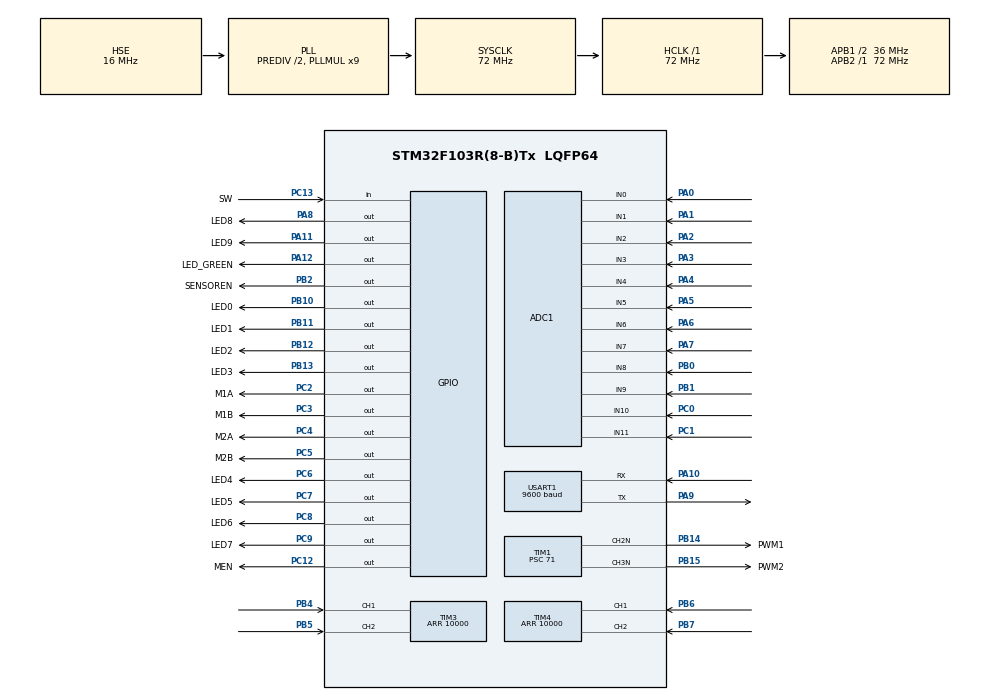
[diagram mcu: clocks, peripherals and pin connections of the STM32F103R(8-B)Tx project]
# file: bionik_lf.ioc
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ADC1.Channel-0\#ChannelRegularConversion=ADC_CHANNEL_0
ADC1.NbrOfConversionFlag=1
ADC1.Rank-0\#ChannelRegularConversion=1
ADC1.SamplingTime-0\#ChannelRegularConversion=ADC_SAMPLETIME_1CYCLE_5
ADC1.master=1
Dma.Request0=TIM1_CH2
Dma.Request1=TIM1_CH3
Dma.TIM1_CH2.0.Direction=DMA_MEMORY_TO_PERIPH
Dma.TIM1_CH2.0.Instance=DMA1_Channel3
Dma.TIM1_CH2.0.MemDataAlignment=DMA_MDATAALIGN_HALFWORD
Dma.TIM1_CH2.0.MemInc=DMA_MINC_ENABLE
Dma.TIM1_CH2.0.Mode=DMA_CIRCULAR
Dma.TIM1_CH2.0.PeriphDataAlignment=DMA_PDATAALIGN_HALFWORD
Dma.TIM1_CH2.0.PeriphInc=DMA_PINC_DISABLE
Dma.TIM1_CH2.0.Priority=DMA_PRIORITY_LOW
Dma.TIM1_CH3.1.Direction=DMA_MEMORY_TO_PERIPH
Dma.TIM1_CH3.1.Instance=DMA1_Channel6
Dma.TIM1_CH3.1.MemDataAlignment=DMA_MDATAALIGN_HALFWORD
Dma.TIM1_CH3.1.MemInc=DMA_MINC_ENABLE
Dma.TIM1_CH3.1.Mode=DMA_CIRCULAR
Dma.TIM1_CH3.1.PeriphDataAlignment=DMA_PDATAALIGN_HALFWORD
Dma.TIM1_CH3.1.PeriphInc=DMA_PINC_DISABLE
Dma.TIM1_CH3.1.Priority=DMA_PRIORITY_LOW
Mcu.Family=STM32F1
Mcu.Name=STM32F103R(8-B)Tx
Mcu.Package=LQFP64
NVIC.ADC1_2_IRQn=true\:0\:0\:false\:false\:true\:true
NVIC.DMA1_Channel3_IRQn=true\:0\:0\:false\:false\:true\:false
NVIC.DMA1_Channel6_IRQn=true\:0\:0\:false\:false\:true\:false
NVIC.PriorityGroup=NVIC_PRIORITYGROUP_4
NVIC.TIM1_UP_IRQn=true\:0\:0\:false\:false\:true\:true
NVIC.USART1_IRQn=true\:0\:0\:false\:false\:true\:true
PA0-WKUP.Signal=ADCx_IN0
PA1.Signal=ADCx_IN1
PA10.Mode=Asynchronous
PA10.Signal=USART1_RX
PA11.GPIO_Label=LED9
PA11.Signal=GPIO_Output
PA12.GPIO_Label=LED_GREEN
PA12.Signal=GPIO_Output
PA13.Mode=Serial_Wire
PA13.Signal=SYS_JTMS-SWDIO
PA14.Mode=Serial_Wire
PA14.Signal=SYS_JTCK-SWCLK
PA2.Signal=ADCx_IN2
PA3.Signal=ADCx_IN3
PA4.Signal=ADCx_IN4
PA5.Signal=ADCx_IN5
PA6.Signal=ADCx_IN6
PA7.Signal=ADCx_IN7
PA8.GPIO_Label=LED8
PA8.Signal=GPIO_Output
PA9.Mode=Asynchronous
PA9.Signal=USART1_TX
PB0.Signal=ADCx_IN8
PB1.Signal=ADCx_IN9
PB10.GPIO_Label=LED0
PB10.Signal=GPIO_Output
PB11.GPIO_Label=LED1
PB11.Signal=GPIO_Output
PB12.GPIO_Label=LED2
PB12.Signal=GPIO_Output
PB13.GPIO_Label=LED3
PB13.Signal=GPIO_Output
PB14.GPIO_Label=PWM1
PB14.GPIO_ModeDefaultPP=GPIO_MODE_AF_OD
PB14.GPIO_Speed=GPIO_SPEED_FREQ_HIGH
PB14.Mode=PWM Generation2 CH2N
PB14.Signal=TIM1_CH2N
PB15.GPIO_Label=PWM2
PB15.Mode=PWM Generation3 CH3N
PB15.Signal=TIM1_CH3N
PB2.GPIO_Label=SENSOREN
PB2.Signal=GPIO_Output
PB4.GPIO_PuPd=GPIO_NOPULL
PB4.Signal=S_TIM3_CH1
PB5.GPIO_PuPd=GPIO_NOPULL
PB5.Signal=S_TIM3_CH2
PB6.GPIO_PuPd=GPIO_NOPULL
PB6.Signal=S_TIM4_CH1
PB7.GPIO_PuPd=GPIO_NOPULL
PB7.Signal=S_TIM4_CH2
PC0.Signal=ADCx_IN10
PC1.Signal=ADCx_IN11
PC12.GPIO_Label=MEN
PC12.Signal=GPIO_Output
PC13-TAMPER-RTC.GPIO_Label=SW
PC13-TAMPER-RTC.Signal=GPIO_Input
PC2.GPIO_Label=M1A
PC2.Signal=GPIO_Output
PC3.GPIO_Label=M1B
PC3.Signal=GPIO_Output
PC4.GPIO_Label=M2A
PC4.Signal=GPIO_Output
PC5.GPIO_Label=M2B
PC5.Signal=GPIO_Output
PC6.GPIO_Label=LED4
PC6.Signal=GPIO_Output
PC7.GPIO_Label=LED5
PC7.Signal=GPIO_Output
PC8.GPIO_Label=LED6
PC8.Signal=GPIO_Output
PC9.GPIO_Label=LED7
PC9.Signal=GPIO_Output
PD0-OSC_IN.Mode=HSE-External-Oscillator
PD0-OSC_IN.Signal=RCC_OSC_IN
PD1-OSC_OUT.Mode=HSE-External-Oscillator
PD1-OSC_OUT.Signal=RCC_OSC_OUT
ProjectManager.HeapSize=0x200
ProjectManager.StackSize=0x400
ProjectManager.TargetToolchain=SW4STM32
RCC.ADCPresc=RCC_ADCPCLK2_DIV6
RCC.AHBFreq_Value=72000000
RCC.APB1CLKDivider=RCC_HCLK_DIV2
RCC.APB1Freq_Value=36000000
RCC.APB1TimFreq_Value=72000000
RCC.APB2Freq_Value=72000000
RCC.APB2TimFreq_Value=72000000
RCC.HCLKFreq_Value=72000000
RCC.HSEDivPLL=RCC_HSE_PREDIV_DIV2
RCC.HSE_VALUE=16000000
RCC.PLLMUL=RCC_PLL_MUL9
RCC.PLLSourceVirtual=RCC_PLLSOURCE_HSE
RCC.SYSCLKFreq_VALUE=72000000
RCC.SYSCLKSource=RCC_SYSCLKSOURCE_PLLCLK
RCC.USBFreq_Value=72000000
SH.ADCx_IN0.0=ADC1_IN0,IN0
SH.ADCx_IN1.0=ADC1_IN1,IN1
SH.ADCx_IN10.0=ADC1_IN10,IN10
SH.ADCx_IN11.0=ADC1_IN11,IN11
SH.ADCx_IN2.0=ADC1_IN2,IN2
SH.ADCx_IN3.0=ADC1_IN3,IN3
SH.ADCx_IN4.0=ADC1_IN4,IN4
SH.ADCx_IN5.0=ADC1_IN5,IN5
SH.ADCx_IN6.0=ADC1_IN6,IN6
SH.ADCx_IN7.0=ADC1_IN7,IN7
SH.ADCx_IN8.0=ADC1_IN8,IN8
SH.ADCx_IN9.0=ADC1_IN9,IN9
SH.S_TIM3_CH1.0=TIM3_CH1,Encoder_Interface
SH.S_TIM3_CH2.0=TIM3_CH2,Encoder_Interface
SH.S_TIM4_CH1.0=TIM4_CH1,Encoder_Interface
SH.S_TIM4_CH2.0=TIM4_CH2,Encoder_Interface
TIM1.AutomaticOutput=TIM_AUTOMATICOUTPUT_DISABLE
TIM1.Channel-PWM\ Generation2\ CH2N=TIM_CHANNEL_2
TIM1.Channel-PWM\ Generation3\ CH3N=TIM_CHANNEL_3
TIM1.LockLevel=TIM_LOCKLEVEL_OFF
TIM1.OCFastMode_PWM-PWM\ Generation2\ CH2N=TIM_OCFAST_ENABLE
TIM1.OCNPolarity_2=TIM_OCNPOLARITY_HIGH
TIM1.OffStateIDLEMode=TIM_OSSI_DISABLE
TIM1.OffStateRunMode=TIM_OSSR_DISABLE
TIM1.Period=1000
TIM1.Prescaler=71
TIM1.Pulse-PWM\ Generation2\ CH2N=5
TIM1.TIM_MasterOutputTrigger=TIM_TRGO_UPDATE
TIM1.TIM_MasterSlaveMode=TIM_MASTERSLAVEMODE_DISABLE
TIM3.EncoderMode=TIM_ENCODERMODE_TI12
TIM3.IC1Filter=2
TIM3.IC2Filter=2
TIM3.Period=10000
TIM4.EncoderMode=TIM_ENCODERMODE_TI12
TIM4.IC1Filter=2
TIM4.IC2Filter=2
TIM4.Period=10000
USART1.BaudRate=9600
USART1.VirtualMode=VM_ASYNC
VP_TIM1_VS_ClockSourceINT.Mode=Internal
board=bionik_lf

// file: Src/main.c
/**
  ******************************************************************************
  * File Name          : main.c
  * Description        : Main program body
  ******************************************************************************
  ** This notice applies to any and all portions of this file
  * that are not between comment pairs USER CODE BEGIN and
  * USER CODE END. Other portions of this file, whether
  * inserted by the user or by software development tools
  * are owned by their respective copyright owners.
  *
  * COPYRIGHT(c) 2017 STMicroelectronics
  *
  * Redistribution and use in source and binary forms, with or without modification,
  * are permitted provided that the following conditions are met:
  *   1. Redistributions of source code must retain the above copyright notice,
  *      this list of conditions and the following disclaimer.
  *   2. Redistributions in binary form must reproduce the above copyright notice,
  *      this list of conditions and the following disclaimer in the documentation
  *      and/or other materials provided with the distribution.
  *   3. Neither the name of STMicroelectronics nor the names of its contributors
  *      may be used to endorse or promote products derived from this software
  *      without specific prior written permission.
  *
  * THIS SOFTWARE IS PROVIDED BY THE COPYRIGHT HOLDERS AND CONTRIBUTORS "AS IS"
  * AND ANY EXPRESS OR IMPLIED WARRANTIES, INCLUDING, BUT NOT LIMITED TO, THE
  * IMPLIED WARRANTIES OF MERCHANTABILITY AND FITNESS FOR A PARTICULAR PURPOSE ARE
  * DISCLAIMED. IN NO EVENT SHALL THE COPYRIGHT HOLDER OR CONTRIBUTORS BE LIABLE
  * FOR ANY DIRECT, INDIRECT, INCIDENTAL, SPECIAL, EXEMPLARY, OR CONSEQUENTIAL
  * DAMAGES (INCLUDING, BUT NOT LIMITED TO, PROCUREMENT OF SUBSTITUTE GOODS OR
  * SERVICES; LOSS OF USE, DATA, OR PROFITS; OR BUSINESS INTERRUPTION) HOWEVER
  * CAUSED AND ON ANY THEORY OF LIABILITY, WHETHER IN CONTRACT, STRICT LIABILITY,
  * OR TORT (INCLUDING NEGLIGENCE OR OTHERWISE) ARISING IN ANY WAY OUT OF THE USE
  * OF THIS SOFTWARE, EVEN IF ADVISED OF THE POSSIBILITY OF SUCH DAMAGE.
  *
  ******************************************************************************
  */
#include "main.h"
#include "stm32f1xx_hal.h"
#include "adc.h"
#include "dma.h"
#include "tim.h"
#include "usart.h"
#include "gpio.h"
#include <stdio.h>

/* USER CODE BEGIN PV */
/* Private variables ---------------------------------------------------------*/
uint16_t Pwm1;
uint16_t Pwm2;
volatile uint16_t left_pulse_count;
volatile uint16_t right_pulse_count;
uint8_t debug_data[40];
uint8_t data_size=0;
uint16_t adc_pomiar;

/* USER CODE END PV */

void SystemClock_Config(void);

/* USER CODE BEGIN PFP */
/* Private function prototypes -----------------------------------------------*/

/* USER CODE END PFP */

int main(void)
{

  /* MCU Configuration----------------------------------------------------------*/

  /* Reset of all peripherals, Initializes the Flash interface and the Systick. */
  HAL_Init();

  /* Configure the system clock */
  SystemClock_Config();

  /* Initialize all configured peripherals */
  MX_GPIO_Init();
  MX_DMA_Init();
  MX_ADC1_Init();
  MX_TIM1_Init();
  MX_TIM3_Init();
  MX_TIM4_Init();
  MX_USART1_UART_Init();

  HAL_TIM_Encoder_Start(&htim3, TIM_CHANNEL_ALL);
  HAL_TIM_Encoder_Start(&htim4, TIM_CHANNEL_ALL);

  /* USER CODE BEGIN 2 */

  HAL_TIMEx_PWMN_Start_DMA(&htim1, TIM_CHANNEL_2, &Pwm1, 1);
  HAL_TIMEx_PWMN_Start_DMA(&htim1, TIM_CHANNEL_3, &Pwm2, 1);

  TIM1->CR1 |= TIM_CR1_CEN;

  HAL_GPIO_WritePin(MEN_GPIO_Port, MEN_Pin, GPIO_PIN_SET);
  HAL_GPIO_WritePin(M1A_GPIO_Port, M1A_Pin,GPIO_PIN_SET);
  HAL_GPIO_WritePin(M1B_GPIO_Port, M2A_Pin,GPIO_PIN_SET);

  HAL_ADC_Start(&hadc1);

  ADC_ChannelConfTypeDef sConfig;

  /* USER CODE END 2 */

  /* Infinite loop */
  while (1)
  {

  /* USER CODE BEGIN 3 */

	  sConfig.Channel = ADC_CHANNEL_0;
	  sConfig.Rank = 1;
	  sConfig.SamplingTime = ADC_SAMPLETIME_1CYCLE_5;
	  HAL_ADC_ConfigChannel(&hadc1, &sConfig);
	  if (HAL_ADC_PollForConversion(&hadc1, 10) == HAL_OK) {
	  adc_pomiar = HAL_ADC_GetValue(&hadc1);
	  if(adc_pomiar>2000)HAL_GPIO_WritePin(LED0_GPIO_Port, LED0_Pin, GPIO_PIN_SET);
	  else HAL_GPIO_WritePin(LED0_GPIO_Port, LED0_Pin, GPIO_PIN_RESET);
	  HAL_ADC_Start(&hadc1);
	  }

	  sConfig.Channel = ADC_CHANNEL_1;
	  sConfig.Rank = 1;
	  sConfig.SamplingTime = ADC_SAMPLETIME_1CYCLE_5;
	  HAL_ADC_ConfigChannel(&hadc1, &sConfig);
	  if (HAL_ADC_PollForConversion(&hadc1, 10) == HAL_OK) {
	  adc_pomiar = HAL_ADC_GetValue(&hadc1);
	  if(adc_pomiar>2000)HAL_GPIO_WritePin(LED1_GPIO_Port, LED1_Pin, GPIO_PIN_SET);
	  else HAL_GPIO_WritePin(LED1_GPIO_Port, LED1_Pin, GPIO_PIN_RESET);
	  HAL_ADC_Start(&hadc1);
	  }

	  sConfig.Channel = ADC_CHANNEL_2;
	  sConfig.Rank = 1;
	  sConfig.SamplingTime = ADC_SAMPLETIME_1CYCLE_5;
	  HAL_ADC_ConfigChannel(&hadc1, &sConfig);
	  if (HAL_ADC_PollForConversion(&hadc1, 10) == HAL_OK) {
	  adc_pomiar = HAL_ADC_GetValue(&hadc1);
	  if(adc_pomiar>2000)HAL_GPIO_WritePin(LED2_GPIO_Port, LED2_Pin, GPIO_PIN_SET);
	  else HAL_GPIO_WritePin(LED2_GPIO_Port, LED2_Pin, GPIO_PIN_RESET);
	  HAL_ADC_Start(&hadc1);
	  }

	  sConfig.Channel = ADC_CHANNEL_3;
	  sConfig.Rank = 1;
	  sConfig.SamplingTime = ADC_SAMPLETIME_1CYCLE_5;
	  HAL_ADC_ConfigChannel(&hadc1, &sConfig);
	  if (HAL_ADC_PollForConversion(&hadc1, 10) == HAL_OK) {
	  adc_pomiar = HAL_ADC_GetValue(&hadc1);
	  if(adc_pomiar>2000)HAL_GPIO_WritePin(LED3_GPIO_Port, LED3_Pin, GPIO_PIN_SET);
	  else HAL_GPIO_WritePin(LED3_GPIO_Port, LED3_Pin, GPIO_PIN_RESET);
	  HAL_ADC_Start(&hadc1);
	  }

	  sConfig.Channel = ADC_CHANNEL_4;
	  sConfig.Rank = 1;
	  sConfig.SamplingTime = ADC_SAMPLETIME_1CYCLE_5;
	  HAL_ADC_ConfigChannel(&hadc1, &sConfig);
	  if (HAL_ADC_PollForConversion(&hadc1, 10) == HAL_OK) {
	  adc_pomiar = HAL_ADC_GetValue(&hadc1);
	  if(adc_pomiar>2000)HAL_GPIO_WritePin(LED4_GPIO_Port, LED4_Pin, GPIO_PIN_SET);
	  else HAL_GPIO_WritePin(LED4_GPIO_Port, LED4_Pin, GPIO_PIN_RESET);
	  HAL_ADC_Start(&hadc1);
	  }

	  sConfig.Channel = ADC_CHANNEL_5;
	  sConfig.Rank = 1;
	  sConfig.SamplingTime = ADC_SAMPLETIME_1CYCLE_5;
	  HAL_ADC_ConfigChannel(&hadc1, &sConfig);
	  if (HAL_ADC_PollForConversion(&hadc1, 10) == HAL_OK) {
	  adc_pomiar = HAL_ADC_GetValue(&hadc1);
	  if(adc_pomiar>2000)HAL_GPIO_WritePin(LED5_GPIO_Port, LED5_Pin, GPIO_PIN_SET);
	  else HAL_GPIO_WritePin(LED5_GPIO_Port, LED5_Pin, GPIO_PIN_RESET);
	  HAL_ADC_Start(&hadc1);
	  }

	  sConfig.Channel = ADC_CHANNEL_6;
	  sConfig.Rank = 1;
	  sConfig.SamplingTime = ADC_SAMPLETIME_1CYCLE_5;
	  HAL_ADC_ConfigChannel(&hadc1, &sConfig);
	  if (HAL_ADC_PollForConversion(&hadc1, 10) == HAL_OK) {
	  adc_pomiar = HAL_ADC_GetValue(&hadc1);
	  if(adc_pomiar>2000)HAL_GPIO_WritePin(LED6_GPIO_Port, LED6_Pin, GPIO_PIN_SET);
	  else HAL_GPIO_WritePin(LED6_GPIO_Port, LED6_Pin, GPIO_PIN_RESET);
	  HAL_ADC_Start(&hadc1);
	  }

	  sConfig.Channel = ADC_CHANNEL_7;
	  sConfig.Rank = 1;
	  sConfig.SamplingTime = ADC_SAMPLETIME_1CYCLE_5;
	  HAL_ADC_ConfigChannel(&hadc1, &sConfig);
	  if (HAL_ADC_PollForConversion(&hadc1, 10) == HAL_OK) {
	  adc_pomiar = HAL_ADC_GetValue(&hadc1);
	  if(adc_pomiar>2000)HAL_GPIO_WritePin(LED7_GPIO_Port, LED7_Pin, GPIO_PIN_SET);
	  else HAL_GPIO_WritePin(LED7_GPIO_Port, LED7_Pin, GPIO_PIN_RESET);
	  HAL_ADC_Start(&hadc1);
	  }

	  sConfig.Channel = ADC_CHANNEL_8;
	  sConfig.Rank = 1;
	  sConfig.SamplingTime = ADC_SAMPLETIME_1CYCLE_5;
	  HAL_ADC_ConfigChannel(&hadc1, &sConfig);
	  if (HAL_ADC_PollForConversion(&hadc1, 10) == HAL_OK) {
	  adc_pomiar = HAL_ADC_GetValue(&hadc1);
	  if(adc_pomiar>2000)HAL_GPIO_WritePin(LED8_GPIO_Port, LED8_Pin, GPIO_PIN_SET);
	  else HAL_GPIO_WritePin(LED8_GPIO_Port, LED8_Pin, GPIO_PIN_RESET);
	  HAL_ADC_Start(&hadc1);
	  }

	  sConfig.Channel = ADC_CHANNEL_9;
	  sConfig.Rank = 1;
	  sConfig.SamplingTime = ADC_SAMPLETIME_1CYCLE_5;
	  HAL_ADC_ConfigChannel(&hadc1, &sConfig);
	  if (HAL_ADC_PollForConversion(&hadc1, 10) == HAL_OK) {
	  adc_pomiar = HAL_ADC_GetValue(&hadc1);
	  if(adc_pomiar>2000)HAL_GPIO_WritePin(LED9_GPIO_Port, LED9_Pin, GPIO_PIN_SET);
	  else HAL_GPIO_WritePin(LED9_GPIO_Port, LED9_Pin, GPIO_PIN_RESET);
	  HAL_ADC_Start(&hadc1);
	  }

	  if(HAL_GPIO_ReadPin(SW_GPIO_Port, SW_Pin)){

		  HAL_GPIO_WritePin(LED_GREEN_GPIO_Port, LED_GREEN_Pin, GPIO_PIN_SET);
		  HAL_GPIO_WritePin(SENSOREN_GPIO_Port, SENSOREN_Pin, GPIO_PIN_SET);
		  HAL_Delay(10);
	  }
	  else{
		  HAL_GPIO_WritePin(LED_GREEN_GPIO_Port, LED_GREEN_Pin, GPIO_PIN_RESET);
		  HAL_GPIO_WritePin(SENSOREN_GPIO_Port, SENSOREN_Pin, GPIO_PIN_RESET);
		  HAL_Delay(10);
	  }

	  left_pulse_count = TIM3->CNT;
	  right_pulse_count = TIM4->CNT;
	  data_size = sprintf(debug_data,"Enc: %d :: %d",left_pulse_count, right_pulse_count);
	  //HAL_UART_Transmit_IT(&huart1,debug_data, data_size);

  }
  /* USER CODE END 3 */

}

/** System Clock Configuration
*/
void SystemClock_Config(void)
{

  RCC_OscInitTypeDef RCC_OscInitStruct;
  RCC_ClkInitTypeDef RCC_ClkInitStruct;
  RCC_PeriphCLKInitTypeDef PeriphClkInit;

    /**Initializes the CPU, AHB and APB busses clocks
    */
  RCC_OscInitStruct.OscillatorType = RCC_OSCILLATORTYPE_HSE;
  RCC_OscInitStruct.HSEState = RCC_HSE_ON;
  RCC_OscInitStruct.HSEPredivValue = RCC_HSE_PREDIV_DIV2;
  RCC_OscInitStruct.HSIState = RCC_HSI_ON;
  RCC_OscInitStruct.PLL.PLLState = RCC_PLL_ON;
  RCC_OscInitStruct.PLL.PLLSource = RCC_PLLSOURCE_HSE;
  RCC_OscInitStruct.PLL.PLLMUL = RCC_PLL_MUL9;
  if (HAL_RCC_OscConfig(&RCC_OscInitStruct) != HAL_OK)
  {
    _Error_Handler(__FILE__, __LINE__);
  }

    /**Initializes the CPU, AHB and APB busses clocks
    */
  RCC_ClkInitStruct.ClockType = RCC_CLOCKTYPE_HCLK|RCC_CLOCKTYPE_SYSCLK
                              |RCC_CLOCKTYPE_PCLK1|RCC_CLOCKTYPE_PCLK2;
  RCC_ClkInitStruct.SYSCLKSource = RCC_SYSCLKSOURCE_PLLCLK;
  RCC_ClkInitStruct.AHBCLKDivider = RCC_SYSCLK_DIV1;
  RCC_ClkInitStruct.APB1CLKDivider = RCC_HCLK_DIV2;
  RCC_ClkInitStruct.APB2CLKDivider = RCC_HCLK_DIV1;

  if (HAL_RCC_ClockConfig(&RCC_ClkInitStruct, FLASH_LATENCY_2) != HAL_OK)
  {
    _Error_Handler(__FILE__, __LINE__);
  }

  PeriphClkInit.PeriphClockSelection = RCC_PERIPHCLK_ADC;
  PeriphClkInit.AdcClockSelection = RCC_ADCPCLK2_DIV6;
  if (HAL_RCCEx_PeriphCLKConfig(&PeriphClkInit) != HAL_OK)
  {
    _Error_Handler(__FILE__, __LINE__);
  }

    /**Configure the Systick interrupt time
    */
  HAL_SYSTICK_Config(HAL_RCC_GetHCLKFreq()/1000);

    /**Configure the Systick
    */
  HAL_SYSTICK_CLKSourceConfig(SYSTICK_CLKSOURCE_HCLK);

  /* SysTick_IRQn interrupt configuration */
  HAL_NVIC_SetPriority(SysTick_IRQn, 0, 0);
}

/* USER CODE BEGIN 4 */
void user_pwm_setvalue(uint16_t value)
{
    TIM_OC_InitTypeDef sConfigOC;

    sConfigOC.OCMode = TIM_OCMODE_PWM1;
    sConfigOC.Pulse = value;
    sConfigOC.OCPolarity = TIM_OCPOLARITY_HIGH;
    sConfigOC.OCNPolarity = TIM_OCNPOLARITY_HIGH;
    sConfigOC.OCFastMode = TIM_OCFAST_ENABLE;
    sConfigOC.OCIdleState = TIM_OCIDLESTATE_RESET;
    sConfigOC.OCNIdleState = TIM_OCNIDLESTATE_RESET;
    HAL_TIM_PWM_ConfigChannel(&htim1, &sConfigOC, TIM_CHANNEL_2);
    HAL_TIM_PWM_ConfigChannel(&htim1, &sConfigOC, TIM_CHANNEL_3);
}

/* USER CODE END 4 */

void _Error_Handler(char * file, int line)
{
  while(1)
  {
  }
}

/************************ (C) COPYRIGHT STMicroelectronics *****END OF FILE****/
